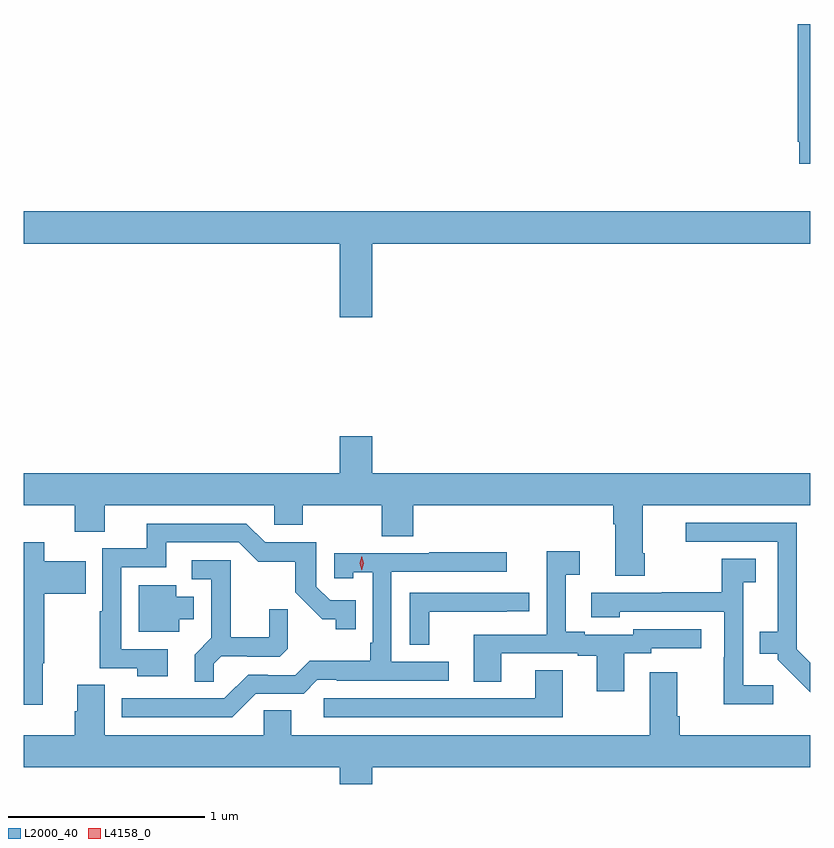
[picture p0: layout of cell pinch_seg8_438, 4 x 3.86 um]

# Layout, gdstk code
import gdstk
lib = gdstk.Library(unit=1e-6, precision=1e-09)
def P(c, l, *ps):  # polygons
    for p in ps: c.add(gdstk.Polygon(p, *l))
L2000_40 = (2000, 40)
L4158_0 = (4158, 0)

pinch_seg8_438 = lib.new_cell('pinch_seg8_438')
P(pinch_seg8_438, L2000_40, [(347.22,1138.928),(347.155,1138.928),(347.155,1138.33),(347.163,1138.33),(347.163,1138.218),(347.22,1138.218)],
  [(344.992,1137.812),(347.22,1137.812),(347.22,1137.976),(343.22,1137.976),(343.22,1137.812),(344.828,1137.812),(344.828,1137.438),(344.992,1137.438)],
  [(346.377,1136.236),(346.369,1136.236),(346.369,1136.48),(347.22,1136.48),(347.22,1136.644),(344.992,1136.644),(344.992,1136.833),(344.828,1136.833),(344.828,1136.644),(343.22,1136.644),(343.22,1136.48),(343.481,1136.48),(343.481,1136.347),(343.633,1136.347),(343.633,1136.48),(344.493,1136.48),(344.493,1136.382),(344.64,1136.382),(344.64,1136.48),(345.04,1136.48),(345.04,1136.323),(345.2,1136.323),(345.2,1136.48),(346.217,1136.48),(346.217,1136.384),(346.229,1136.384),(346.229,1136.124),(346.377,1136.124)],
  [(347.22,1135.68),(347.151,1135.749),(347.151,1136.391),(346.587,1136.391),(346.587,1136.295),(347.054,1136.295),(347.054,1135.837),(346.963,1135.837),(346.963,1135.727),(347.055,1135.727),(347.055,1135.695),(347.22,1135.53)],
  [(343.954,1135.749),(343.716,1135.749),(343.716,1136.166),(343.945,1136.166),(343.945,1136.292),(344.313,1136.292),(344.412,1136.194),(344.601,1136.194),(344.601,1136.038),(344.738,1135.901),(344.808,1135.901),(344.808,1135.851),(344.909,1135.851),(344.909,1135.998),(344.778,1135.998),(344.709,1136.067),(344.709,1136.292),(344.448,1136.292),(344.352,1136.388),(343.847,1136.388),(343.847,1136.262),(343.62,1136.262),(343.62,1135.943),(343.608,1135.943),(343.608,1135.653),(343.798,1135.653),(343.798,1135.613),(343.954,1135.613)],
  [(343.318,1135.679),(343.326,1135.679),(343.326,1136.032),(343.535,1136.032),(343.535,1136.197),(343.326,1136.197),(343.326,1136.293),(343.22,1136.293),(343.22,1135.467),(343.318,1135.467)],
  [(346.273,1135.728),(346.41,1135.728),(346.41,1135.755),(346.666,1135.755),(346.666,1135.851),(346.32,1135.851),(346.32,1135.824),(346.072,1135.824),(346.072,1135.837),(345.976,1135.837),(345.976,1136.128),(346.048,1136.128),(346.048,1136.248),(345.879,1136.248),(345.879,1135.824),(345.509,1135.824),(345.509,1135.585),(345.649,1135.585),(345.649,1135.728),(346.037,1135.728),(346.037,1135.716),(346.133,1135.716),(346.133,1135.536),(346.273,1135.536)],
  [(344.4,1135.524),(344.643,1135.524),(344.712,1135.593),(344.812,1135.593),(344.812,1135.59),(345.382,1135.59),(345.382,1135.686),(345.09,1135.686),(345.09,1136.142),(345.676,1136.142),(345.676,1136.241),(345.283,1136.241),(345.283,1136.238),(344.799,1136.238),(344.799,1136.109),(344.895,1136.109),(344.895,1136.141),(344.994,1136.141),(344.994,1135.783),(344.982,1135.783),(344.982,1135.69),(344.674,1135.69),(344.601,1135.617),(344.462,1135.617),(344.462,1135.62),(344.361,1135.62),(344.241,1135.5),(343.718,1135.5),(343.718,1135.404),(344.28,1135.404)],
  [(347.032,1135.567),(346.878,1135.567),(346.878,1136.089),(346.942,1136.089),(346.942,1136.21),(346.77,1136.21),(346.77,1136.04),(346.465,1136.04),(346.465,1136.037),(346.107,1136.037),(346.107,1135.913),(346.251,1135.913),(346.251,1135.941),(346.782,1135.941),(346.782,1135.709),(346.78,1135.709),(346.78,1135.469),(347.032,1135.469)],
  [(344.187,1135.676),(344.224,1135.713),(344.358,1135.713),(344.358,1135.71),(344.523,1135.71),(344.564,1135.751),(344.564,1135.953),(344.47,1135.953),(344.47,1135.81),(344.273,1135.81),(344.273,1136.202),(344.076,1136.202),(344.076,1136.106),(344.175,1136.106),(344.175,1135.807),(344.089,1135.721),(344.089,1135.585),(344.187,1135.585)],
  [(344.011,1135.901),(344.086,1135.901),(344.086,1136.017),(343.996,1136.017),(343.996,1136.074),(343.805,1136.074),(343.805,1135.838),(344.011,1135.838)],
  [(345.282,1135.941),(345.677,1135.941),(345.677,1135.942),(345.79,1135.942),(345.79,1136.037),(345.183,1136.037),(345.183,1135.771),(345.282,1135.771)],
  [(345.961,1135.643),(345.821,1135.643),(345.821,1135.5),(344.745,1135.5),(344.745,1135.404),(345.961,1135.404)],
  [(344.992,1135.148),(347.22,1135.148),(347.22,1135.312),(346.556,1135.312),(346.556,1135.408),(346.543,1135.408),(346.543,1135.633),(346.403,1135.633),(346.403,1135.312),(344.581,1135.312),(344.581,1135.439),(344.442,1135.439),(344.442,1135.312),(343.633,1135.312),(343.633,1135.568),(343.493,1135.568),(343.493,1135.434),(343.481,1135.434),(343.481,1135.312),(343.22,1135.312),(343.22,1135.148),(344.828,1135.148),(344.828,1135.064),(344.992,1135.064)])
P(pinch_seg8_438, L4158_0, [(344.94,1136.151),(344.94,1136.151),(344.93,1136.187),(344.94,1136.222),(344.94,1136.223),(344.94,1136.222),(344.95,1136.187),(344.94,1136.151)])

lib.write_gds('pinch_seg8_438.gds')
